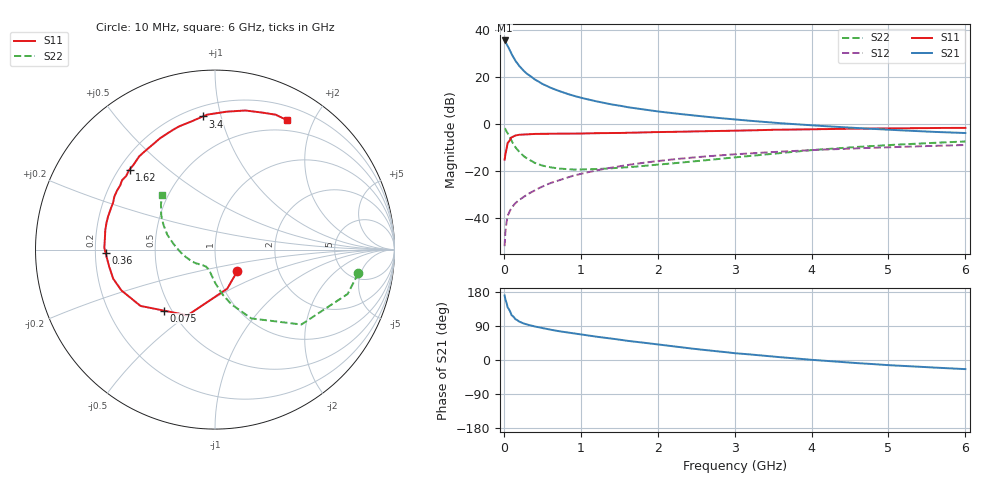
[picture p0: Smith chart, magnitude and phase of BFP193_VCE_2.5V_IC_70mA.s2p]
! Infineon Technologies  Discrete & RF Semiconductors
! BFP193
! VCE = 2.5 V,  IC =  70 mA
! Common Emitter S-Parameters:  Jan 2016
# GHz  S  MA  R  50
!  f  S11  S21  S12  S22
! GHz  MAG  ANG  MAG  ANG  MAG  ANG  MAG  ANG
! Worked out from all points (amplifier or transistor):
!   210 points, 10 MHz to 6 GHz, reference 50 ohm
!   highest |S21| = 35.6 dB at 10 MHz (marker M1)
!   |S21| within 3 dB of that: start of sweep to 60.01 MHz
!   unconditionally stable (mu >= 1): start of sweep to 11.6 MHz; 368.2 MHz to 4.333 GHz
!   at 185 MHz: K = 0.80, MSG = 29.1 dB, |S12| = -32.8 dB
!   at 1.52 GHz: K = 1.11, MAG = 10.8 dB, |S12| = -17.9 dB
!   at 6 GHz: K = 0.97, MSG = 2.5 dB, |S12| = -8.9 dB
!   S11 on the Smith chart (normalised r, x): 10 MHz: 1.24, -0.31; 75 MHz: 0.46, -0.39; 360 MHz: 0.24, -0.01; 1.62 GHz: 0.24, +0.37; 3.4 GHz: 0.26, +0.88; 6 GHz: 0.36, +1.65
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0.01  0.1734 -44.4  60.15 170.2  0.0025 79.2  0.8091 -9.4
0.02  0.2283 -72.7  56.95 160.2  0.005 73.4  0.7792 -18.5
0.05  0.3968 -112.7  45.94 138.8  0.0111 63.6  0.6372 -40.9
0.075  0.4431 -129.9  37.79 130.7  0.0137 59.1  0.5265 -49.5
0.1  0.5204 -142.9  30.78 118.6  0.0164 56.0  0.4336 -62.2
0.15  0.5688 -156.4  22.23 107.9  0.0206 56.8  0.3199 -73.1
0.2  0.5901 -164.1  17.27 101.4  0.0241 58.1  0.2549 -80.3
0.24  0.5944 -168.9  14.61 97.9  0.0267 59.7  0.2195 -84.4
0.3  0.602 -174.3  11.77 93.5  0.0311 62.2  0.1853 -89.7
0.36  0.6099 -178.3  10.06 90.8  0.0355 63.7  0.1633 -93.3
0.4  0.6167 179.1  8.935 88.5  0.0384 64.5  0.1491 -96.2
0.5  0.6164 174.4  7.154 84.2  0.0464 65.9  0.1302 -101.6
0.6  0.6209 169.9  5.993 80.2  0.0547 66.4  0.1199 -105.9
0.8  0.6237 162.6  4.514 73.4  0.0704 65.8  0.1099 -113.7
1.02  0.6268 154.6  3.564 66.8  0.0882 64.5  0.1075 -120.4
1.62  0.652 136.9  2.268 50.3  0.1347 57.9  0.1207 -137.5
2.02  0.6727 126.0  1.838 40.5  0.1638 52.6  0.1372 -148.8
3.1  0.7251 100.8  1.21 16.4  0.2314 38.0  0.2012 -178.8
3.4  0.7449 95.2  1.1 10.9  0.2476 34.3  0.2242 174.4
4.1  0.7747 83.6  0.915 -0.9  0.2825 25.6  0.2854 160.9
5.1  0.8082 70.7  0.741 -14.6  0.3233 14.2  0.3626 145.8
6  0.8255 60.8  0.642 -24.1  0.3572 4.3  0.4248 134.0
